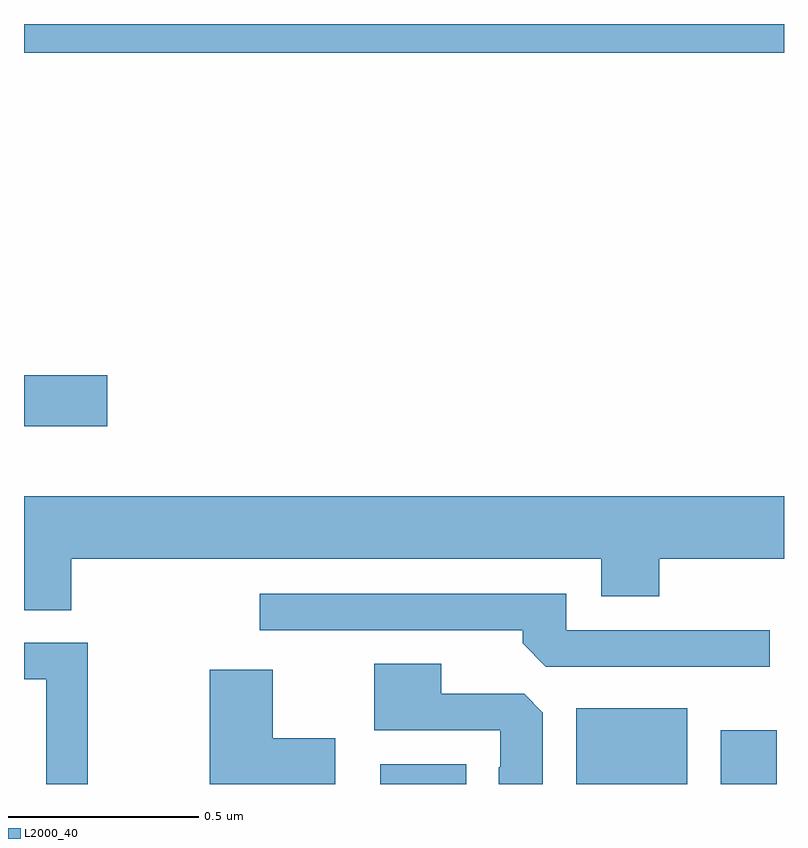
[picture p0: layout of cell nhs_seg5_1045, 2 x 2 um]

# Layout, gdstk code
import gdstk
lib = gdstk.Library(unit=1e-6, precision=1e-09)
def R(c, l, rs):  # rectangles x0, y0, x1, y1
    for r in rs: c.add(gdstk.rectangle(r[:2], r[2:], *l))
def P(c, l, *ps):  # polygons
    for p in ps: c.add(gdstk.Polygon(p, *l))
L2000_40 = (2000, 40)

nhs_seg5_1045 = lib.new_cell('nhs_seg5_1045')
R(nhs_seg5_1045, L2000_40, [(124.937,890.799,125.164,890.851), (125.453,890.799,125.746,890.998), (125.834,890.799,125.981,890.941), (124,891.74,124.219,891.875), (124,892.724,126,892.799)])
P(nhs_seg5_1045, L2000_40, [(124.124,891.392),(125.519,891.392),(125.519,891.293),(125.672,891.293),(125.672,891.392),(126,891.392),(126,891.556),(124,891.556),(124,891.256),(124.124,891.256)],
  [(125.962,891.204),(125.427,891.204),(125.427,891.3),(124.62,891.3),(124.62,891.204),(125.312,891.204),(125.312,891.17),(125.373,891.108),(125.962,891.108)],
  [(124.168,891.171),(124,891.171),(124,891.075),(124.059,891.075),(124.059,890.799),(124.168,890.799)],
  [(125.365,890.987),(125.316,891.036),(125.098,891.036),(125.098,891.115),(124.922,891.115),(124.922,890.94),(125.253,890.94),(125.253,890.843),(125.249,890.843),(125.249,890.799),(125.365,890.799)],
  [(124.819,890.92),(124.654,890.92),(124.654,891.1),(124.489,891.1),(124.489,890.799),(124.819,890.799)])

lib.write_gds('nhs_seg5_1045.gds')
